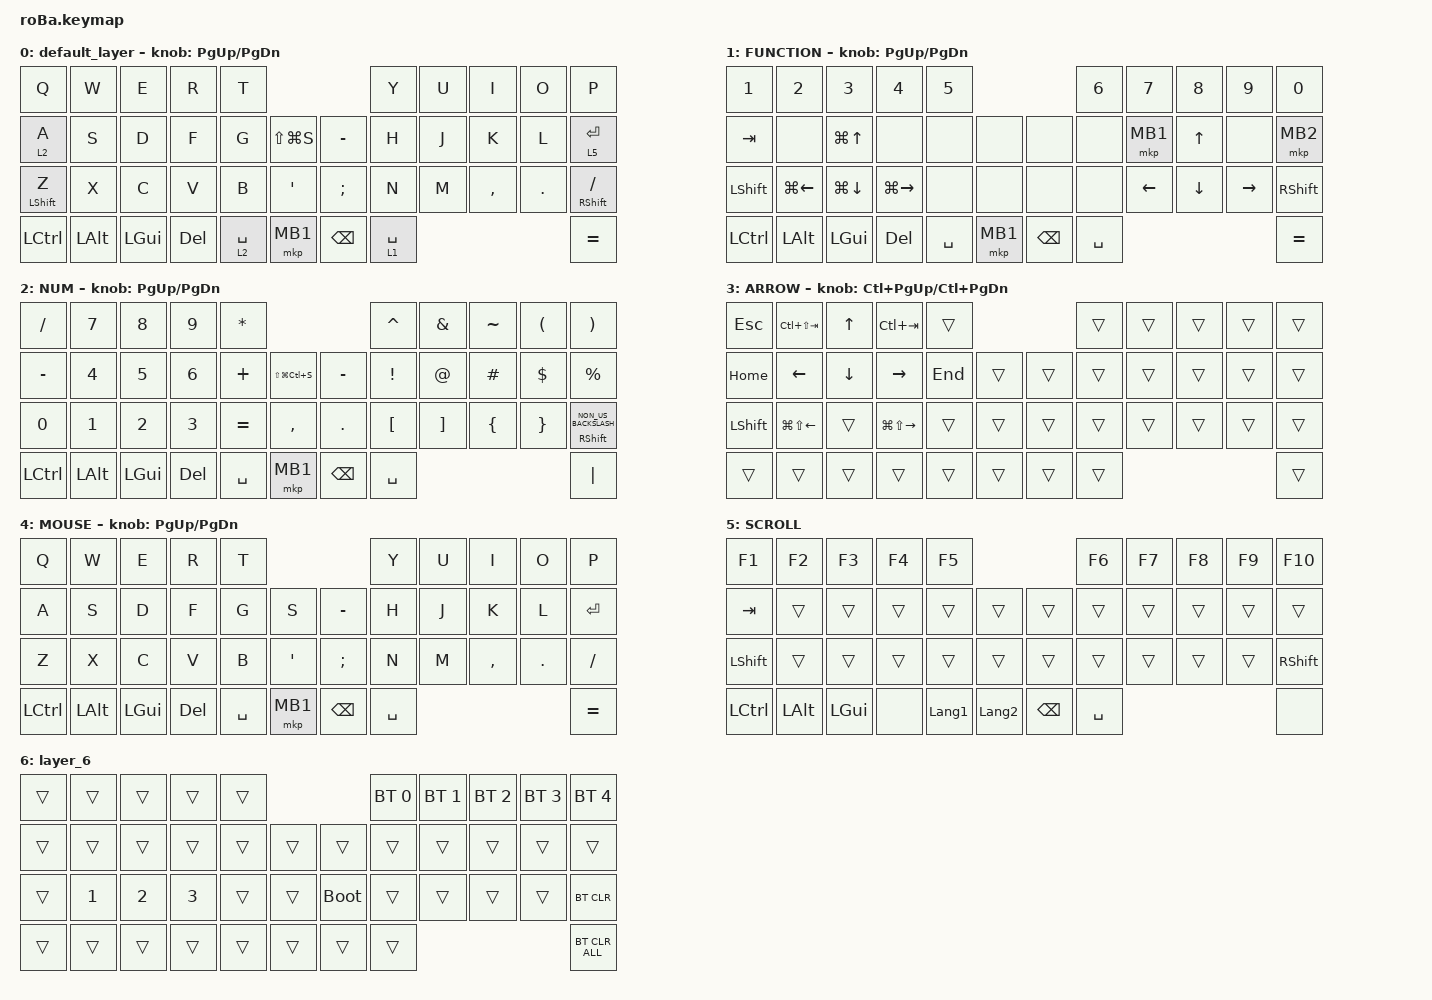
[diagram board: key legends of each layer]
#include <behaviors.dtsi>
#include <dt-bindings/zmk/bt.h>
#include <dt-bindings/zmk/keys.h>
#include <dt-bindings/zmk/pointing.h>

&mt {
    flavor = "balanced";
    quick-tap-ms = <0>;
};

&trackball {
    automouse-layer = <4>;
    scroll-layers = <5>;

    // arrows {
    //     layers = <3>;
    //     bindings =
    //         <&kp RIGHT_ARROW>,
    //         <&kp LEFT_ARROW>,
    //         <&kp UP_ARROW>,
    //         <&kp DOWN_ARROW>;
    //     tick = <10>;
    //     wait-ms = <5>;
    //     tap-ms = <5>;
    // };
};

/ {
    combos {
        compatible = "zmk,combos";

        esc {
            bindings = <&kp ESCAPE>;
            key-positions = <0 1>;
        };

        screenshot {
            bindings = <&kp LS(LG(S))>;
            key-positions = <38 41>;
        };
    };

    macros {
        to_layer_0: to_layer_0 {
            compatible = "zmk,behavior-macro-one-param";
            #binding-cells = <1>;
            bindings = <&to 0 &macro_param_1to1 &kp MACRO_PLACEHOLDER>;
            label = "TO_LAYER_0";
        };
    };

    behaviors {
        lt_to_layer_0: lt_to_layer_0 {
            compatible = "zmk,behavior-hold-tap";
            label = "LAYER_TAP_TO_0";
            bindings = <&mo>, <&to_layer_0>;

            #binding-cells = <2>;
            tapping-term-ms = <200>;
        };
    };

    keymap {
        compatible = "zmk,keymap";

        default_layer {
            bindings = <
&kp Q             &kp W         &kp E         &kp R       &kp T                                          &kp Y        &kp U  &kp I      &kp O    &kp P
&lt 2 A           &kp S         &kp D         &kp F       &kp G        &kp LS(LG(S))      &kp MINUS      &kp H        &kp J  &kp K      &kp L    &lt 5 ENTER
&mt LEFT_SHIFT Z  &kp X         &kp C         &kp V       &kp B        &kp SQT            &kp SEMICOLON  &kp N        &kp M  &kp COMMA  &kp DOT  &mt RIGHT_SHIFT SLASH
&kp LCTRL         &kp LEFT_ALT  &kp LEFT_GUI  &kp DELETE  &lt 2 SPACE  &mkp MB1           &kp BACKSPACE  &lt 1 SPACE                             &kp EQUAL
            >;

            sensor-bindings = <&inc_dec_kp PG_UP PAGE_DOWN>;
        };

        FUNCTION {
            bindings = <
&kp N1     &kp N2              &kp N3              &kp N4               &kp N5                             &kp N6     &kp N7          &kp N8          &kp N9           &kp N0
&kp TAB    &none               &kp LG(UP_ARROW)    &none                &none      &none         &none     &none      &mkp MB1        &kp UP_ARROW    &none            &mkp MB2
&kp LSHFT  &kp LG(LEFT_ARROW)  &kp LG(DOWN_ARROW)  &kp LG(RIGHT_ARROW)  &none      &none         &none     &none      &kp LEFT_ARROW  &kp DOWN_ARROW  &kp RIGHT_ARROW  &kp RIGHT_SHIFT
&kp LCTRL  &kp LALT            &kp LGUI            &kp DELETE           &kp SPACE  &mkp MB1      &kp BSPC  &kp SPACE                                                   &kp EQUAL
            >;

            sensor-bindings = <&inc_dec_kp PG_UP PG_DN>;
        };

        NUM {
            bindings = <
&kp SLASH  &kp N7    &kp N8    &kp N9      &kp ASTERISK                                     &kp CARET         &kp AMPERSAND      &kp TILDE       &kp LEFT_PARENTHESIS  &kp RIGHT_PARENTHESIS
&kp MINUS  &kp N4    &kp N5    &kp N6      &kp PLUS      &kp LS(LG(LC(S)))      &kp MINUS   &kp EXCLAMATION   &kp AT_SIGN        &kp HASH        &kp DOLLAR            &kp PERCENT
&kp N0     &kp N1    &kp N2    &kp N3      &kp EQUAL     &kp COMMA              &kp PERIOD  &kp LEFT_BRACKET  &kp RIGHT_BRACKET  &kp LEFT_BRACE  &kp RIGHT_BRACE       &mt RIGHT_SHIFT NON_US_BACKSLASH
&kp LCTRL  &kp LALT  &kp LGUI  &kp DELETE  &kp SPACE     &mkp MB1               &kp BSPC    &kp SPACE                                                                  &kp PIPE
            >;

            sensor-bindings = <&inc_dec_kp PG_UP PG_DN>;
        };

        ARROW {
            bindings = <
&kp ESCAPE      &kp LC(LS(TAB))         &kp UP_ARROW    &kp LC(TAB)              &trans                       &trans  &trans  &trans  &trans  &trans
&kp HOME        &kp LEFT_ARROW          &kp DOWN_ARROW  &kp RIGHT_ARROW          &kp END  &trans      &trans  &trans  &trans  &trans  &trans  &trans
&kp LEFT_SHIFT  &kp LG(LS(LEFT_ARROW))  &trans          &kp LG(LS(RIGHT_ARROW))  &trans   &trans      &trans  &trans  &trans  &trans  &trans  &trans
&trans          &trans                  &trans          &trans                   &trans   &trans      &trans  &trans                          &trans
            >;

            sensor-bindings = <&inc_dec_kp LC(PAGE_UP) LC(PAGE_DOWN)>;
        };

        MOUSE {
            bindings = <
&kp Q      &kp W     &kp E     &kp R       &kp T                               &kp Y      &kp U  &kp I      &kp O    &kp P
&kp A      &kp S     &kp D     &kp F       &kp G      &kp S         &kp MINUS  &kp H      &kp J  &kp K      &kp L    &kp ENTER
&kp Z      &kp X     &kp C     &kp V       &kp B      &kp APOS      &kp SEMI   &kp N      &kp M  &kp COMMA  &kp DOT  &kp FSLH
&kp LCTRL  &kp LALT  &kp LGUI  &kp DELETE  &kp SPACE  &mkp MB1      &kp BSPC   &kp SPACE                             &kp EQUAL
            >;

            sensor-bindings = <&inc_dec_kp PG_UP PG_DN>;
        };

        SCROLL {
            bindings = <
&kp F1     &kp F2    &kp F3    &kp F4  &kp F5                                             &kp F6     &kp F7  &kp F8  &kp F9  &kp F10
&kp TAB    &trans    &trans    &trans  &trans          &trans              &trans         &trans     &trans  &trans  &trans  &trans
&kp LSHFT  &trans    &trans    &trans  &trans          &trans              &trans         &trans     &trans  &trans  &trans  &kp RIGHT_SHIFT
&kp LCTRL  &kp LALT  &kp LGUI  &none   &kp LANGUAGE_1  &kp LANGUAGE_2      &kp BACKSPACE  &kp SPACE                          &none
            >;
        };

        layer_6 {
            bindings = <
&trans  &trans        &trans        &trans        &trans                           &bt BT_SEL 0  &bt BT_SEL 1  &bt BT_SEL 2  &bt BT_SEL 3  &bt BT_SEL 4
&trans  &trans        &trans        &trans        &trans  &trans      &trans       &trans        &trans        &trans        &trans        &trans
&trans  &kp NUMBER_1  &kp NUMBER_2  &kp NUMBER_3  &trans  &trans      &bootloader  &trans        &trans        &trans        &trans        &bt BT_CLR
&trans  &trans        &trans        &trans        &trans  &trans      &trans       &trans                                                  &bt BT_CLR_ALL
            >;
        };
    };
};
